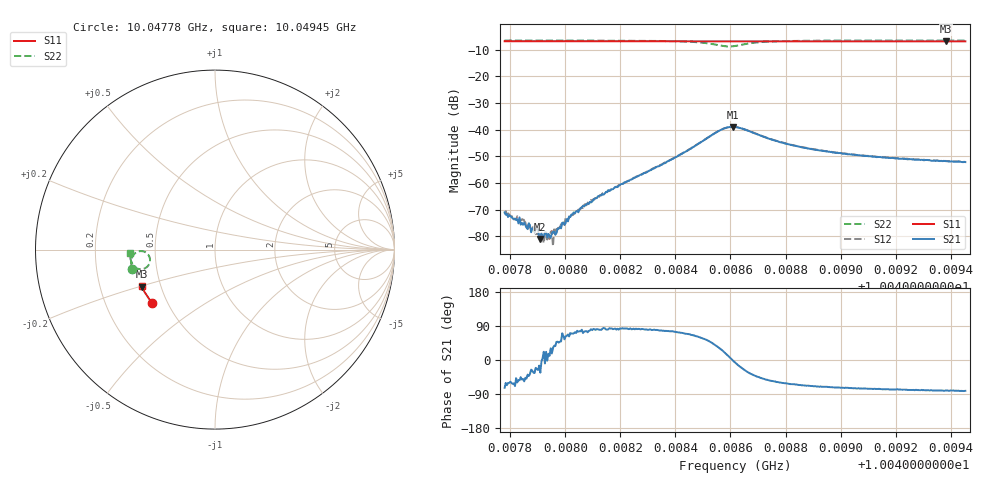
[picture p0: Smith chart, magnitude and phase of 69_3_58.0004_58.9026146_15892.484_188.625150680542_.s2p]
#  HZ  S  RI  R  50.00
! Rohde & Schwarz Vector Network Analyzer
! Rohde-Schwarz,ZNB20-2Port,1311601062101988,3.16
! Created: UTC 3/21/2024, 12:53:20 AM
! freq[Hz]  re:S11  im:S11  re:S21  im:S21  re:S12  im:S12  re:S22  im:S22
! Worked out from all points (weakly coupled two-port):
!   401 points, 10.04778 GHz to 10.04945 GHz, reference 50 ohm
!   highest |S21| = -38.93 dB at 10.04861 GHz (marker M1); lowest = -81.0 dB at 10.04791 GHz (marker M2)
!   lowest |S11| = -6.8 dB at 10.04938 GHz (marker M3), VSWR 2.68, Z = 19.6 - j10.3 ohm
!   |S11| at or under -10 dB: nowhere
!   |S22| runs from -8.7 to -6.5 dB; largest |S21 - S12| = 0.00079
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1.004778e10  -0.351 -0.2971  8.1e-05 -0.000269  0.000132 -0.000224  -0.4635 -0.1055
1.0047847e10  -0.3538 -0.2934  0.000105 -0.000125  0.000142 -0.000177  -0.4644 -0.1003
1.0047867e10  -0.3545 -0.2923  0.000129 -0.000118  0.000122 -8.88e-05  -0.4646 -0.0986
1.0047884e10  -0.3553 -0.2913  0.000121 -7.89e-05  0.000125 -8.49e-05  -0.4648 -0.0973
1.0047893e10  -0.3556 -0.291  0.000124 -4.7e-05  9.53e-05 -5.25e-05  -0.4649 -0.0967
1.0047909e10  -0.3564 -0.29  7.41e-05 -4.88e-05  0.000107 -1.13e-05  -0.4651 -0.0951
1.0047943e10  -0.3575 -0.2883  9.98e-05 1.95e-05  7.24e-05 5.04e-05  -0.4655 -0.0924
1.0047964e10  -0.3585 -0.2872  8.52e-05 6.34e-05  7.5e-05 8.05e-05  -0.4656 -0.0907
1.0047968e10  -0.3587 -0.2871  7.64e-05 8.41e-05  0.000107 8.5e-05  -0.4655 -0.0903
1.0048022e10  -0.361 -0.2841  8.8e-05 0.000239  8.77e-05 0.000238  -0.4663 -0.0853
1.004806e10  -0.3622 -0.2821  6.04e-05 0.000338  6.53e-05 0.000344  -0.4663 -0.0819
1.0048144e10  -0.3656 -0.2776  6.99e-05 0.000633  6.31e-05 0.000633  -0.4666 -0.0738
1.004834e10  -0.373 -0.2667  0.000429 0.00202  0.000288 0.00207  -0.463 -0.0477
1.0048474e10  -0.3778 -0.2591  0.00231 0.00451  0.00201 0.00468  -0.442 -0.018
1.0048558e10  -0.3801 -0.2541  0.00803 0.00511  0.00771 0.00563  -0.3864 -0.0155
1.0048608e10  -0.3815 -0.2519  0.0113 -0.000164  0.0113 0.000604  -0.3627 -0.0678
1.0048616e10  -0.3818 -0.2514  0.0112 -0.00127  0.0113 -0.000505  -0.3657 -0.0778
1.0048717e10  -0.3857 -0.2464  0.00489 -0.00564  0.00531 -0.00536  -0.4333 -0.1052
1.0048897e10  -0.3921 -0.2361  0.00157 -0.00399  0.0018 -0.00397  -0.4646 -0.0724
1.0049177e10  -0.4012 -0.2196  0.00061 -0.00286  0.00082 -0.00287  -0.4724 -0.0419
1.0049382e10  -0.407 -0.2074  0.000421 -0.00253  0.000562 -0.00253  -0.4741 -0.0248
1.0049453e10  -0.4091 -0.2033  0.000369 -0.00244  0.000476 -0.00244  -0.4744 -0.019
